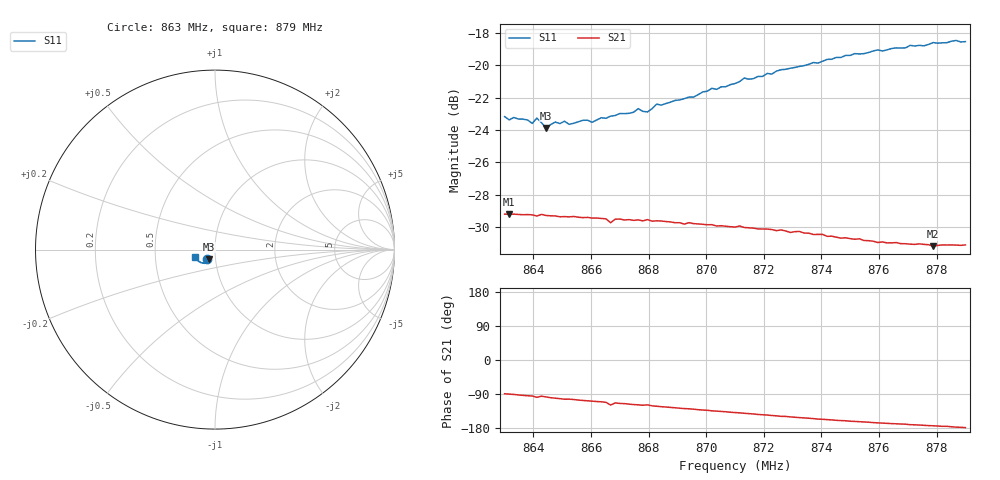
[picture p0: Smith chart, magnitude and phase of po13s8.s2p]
# HZ S RI R 50
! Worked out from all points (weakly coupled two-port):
!   101 points, 863 MHz to 879 MHz, reference 50 ohm
!   highest |S21| = -29.21 dB at 863.16 MHz (marker M1); lowest = -31.2 dB at 877.88 MHz (marker M2)
!   lowest |S11| = -23.9 dB at 864.44 MHz (marker M3), VSWR 1.14, Z = 46.3 - j4.92 ohm
!   |S11| at or under -10 dB: start of sweep to end of sweep
!   S12 and S22 are empty: the file has one direction only
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8.63e8  -0.0435 -0.0541  0.000588 -0.0346  0 0  0 0
8.6316e8  -0.0426 -0.0527  -2.7e-05 -0.0346  0 0  0 0
8.6332e8  -0.0434 -0.0536  -0.000518 -0.0346  0 0  0 0
8.6396e8  -0.0385 -0.0537  -0.00302 -0.0343  0 0  0 0
8.6412e8  -0.0426 -0.0539  -0.00503 -0.0338  0 0  0 0
8.6444e8  -0.0359 -0.0529  -0.00446 -0.034  0 0  0 0
8.6476e8  -0.0379 -0.055  -0.00639 -0.0336  0 0  0 0
8.6524e8  -0.0343 -0.056  -0.00784 -0.033  0 0  0 0
8.6572e8  -0.0343 -0.0582  -0.00974 -0.0323  0 0  0 0
8.6604e8  -0.0328 -0.058  -0.0107 -0.0319  0 0  0 0
8.6668e8  -0.0339 -0.0608  -0.0158 -0.0285  0 0  0 0
8.6684e8  -0.0345 -0.0608  -0.0132 -0.0307  0 0  0 0
8.6764e8  -0.0363 -0.0638  -0.0158 -0.0293  0 0  0 0
8.6796e8  -0.0318 -0.0643  -0.0158 -0.0293  0 0  0 0
8.6828e8  -0.0359 -0.0668  -0.0175 -0.028  0 0  0 0
8.6844e8  -0.0362 -0.066  -0.0181 -0.0276  0 0  0 0
8.71e8  -0.0469 -0.0743  -0.0237 -0.0208  0 0  0 0
8.7132e8  -0.0501 -0.0764  -0.0243 -0.02  0 0  0 0
8.7372e8  -0.0681 -0.076  -0.0271 -0.0128  0 0  0 0
8.7644e8  -0.0938 -0.0625  -0.0276 -0.00591  0 0  0 0
8.7788e8  -0.1059 -0.0513  -0.0274 -0.00307  0 0  0 0
8.79e8  -0.1116 -0.0395  -0.0278 -0.000739  0 0  0 0
